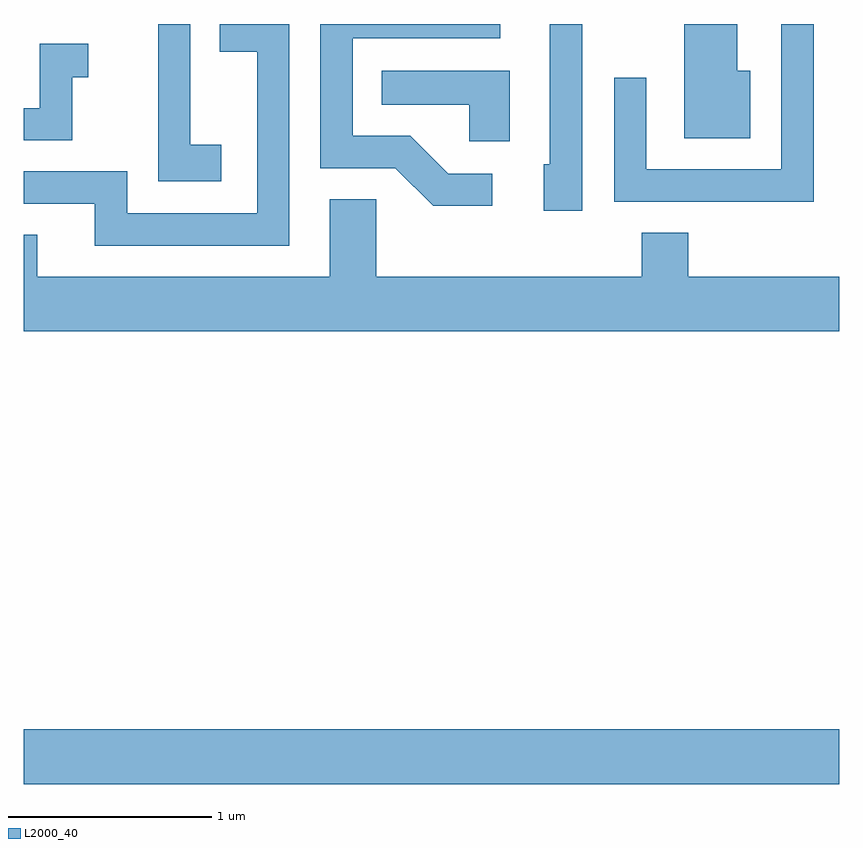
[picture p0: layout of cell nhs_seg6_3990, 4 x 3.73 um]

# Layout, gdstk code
import gdstk
lib = gdstk.Library(unit=1e-6, precision=1e-09)
def R(c, l, rs):  # rectangles x0, y0, x1, y1
    for r in rs: c.add(gdstk.rectangle(r[:2], r[2:], *l))
def P(c, l, *ps):  # polygons
    for p in ps: c.add(gdstk.Polygon(p, *l))
L2000_40 = (2000, 40)

nhs_seg6_3990 = lib.new_cell('nhs_seg6_3990')
R(nhs_seg6_3990, L2000_40, [(305.611,1594.436,309.611,1594.704)])
P(nhs_seg6_3990, L2000_40, [(307.908,1597.429),(307.692,1597.429),(307.507,1597.614),(307.224,1597.614),(307.224,1598.091),(307.948,1598.091),(307.948,1598.162),(307.066,1598.162),(307.066,1597.456),(307.434,1597.456),(307.619,1597.271),(307.908,1597.271)],
  [(306.579,1597.569),(306.429,1597.569),(306.429,1598.162),(306.271,1598.162),(306.271,1597.391),(306.579,1597.391)],
  [(309.174,1597.934),(309.109,1597.934),(309.109,1598.162),(308.851,1598.162),(308.851,1597.601),(309.174,1597.601)],
  [(306.914,1598.162),(306.573,1598.162),(306.573,1598.026),(306.756,1598.026),(306.756,1597.234),(306.119,1597.234),(306.119,1597.439),(305.611,1597.439),(305.611,1597.281),(305.961,1597.281),(305.961,1597.076),(306.914,1597.076)],
  [(308.349,1598.162),(308.191,1598.162),(308.191,1597.474),(308.161,1597.474),(308.161,1597.246),(308.349,1597.246)],
  [(309.484,1598.162),(309.326,1598.162),(309.326,1597.449),(308.664,1597.449),(308.664,1597.898),(308.506,1597.898),(308.506,1597.291),(309.484,1597.291)],
  [(305.849,1597.901),(305.928,1597.901),(305.928,1598.064),(305.691,1598.064),(305.691,1597.749),(305.611,1597.749),(305.611,1597.591),(305.849,1597.591)],
  [(307.994,1597.934),(307.368,1597.934),(307.368,1597.766),(307.796,1597.766),(307.796,1597.586),(307.994,1597.586)],
  [(309.611,1596.924),(308.869,1596.924),(308.869,1597.139),(308.641,1597.139),(308.641,1596.924),(307.339,1596.924),(307.339,1597.304),(307.111,1597.304),(307.111,1596.924),(305.679,1596.924),(305.679,1597.129),(305.611,1597.129),(305.611,1596.656),(309.611,1596.656)])

lib.write_gds('nhs_seg6_3990.gds')
